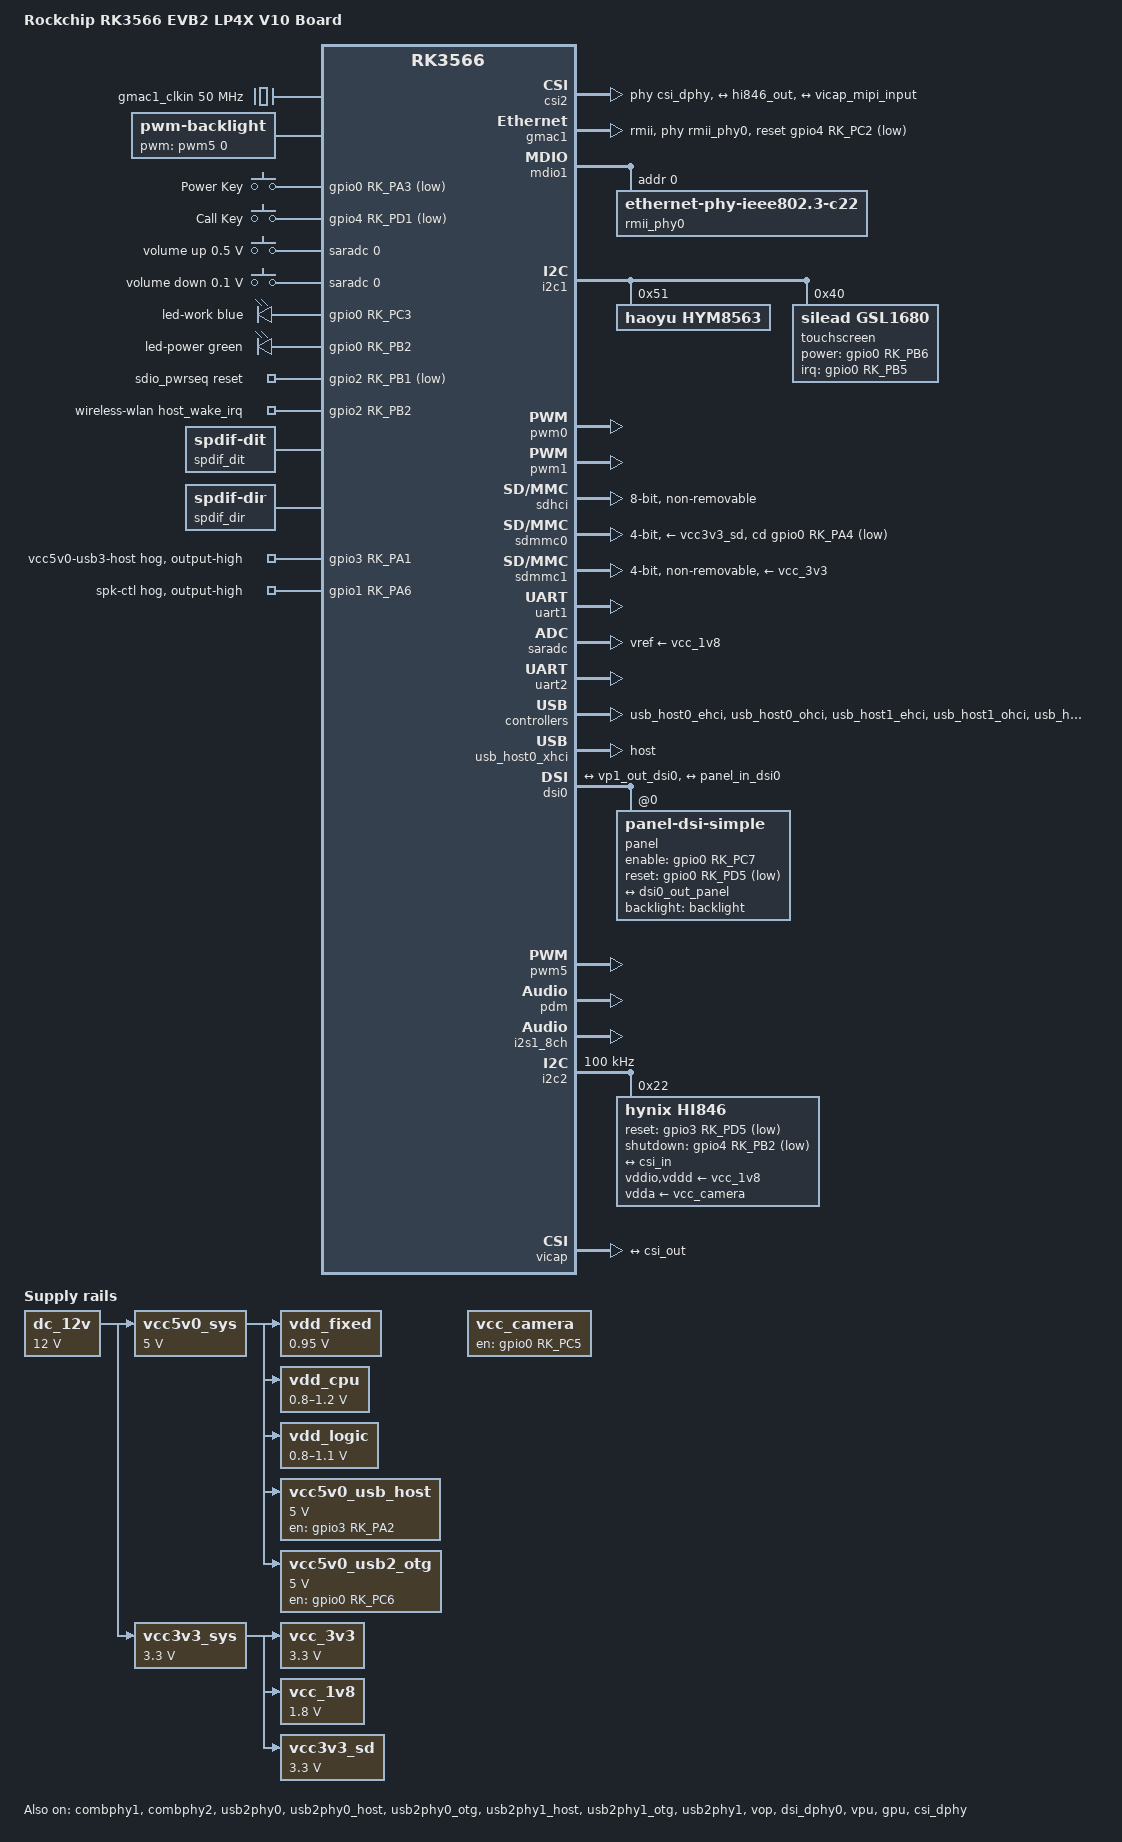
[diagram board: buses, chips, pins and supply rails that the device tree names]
// SPDX-License-Identifier: (GPL-2.0+ OR MIT)
/*
 * Rockchip RK3566 EVB2 LP4X V10 board (mainline port)
 *
 * 移植来源：厂商 Android 11 固件里的设备树
 *   model        : "Rockchip RK3566 EVB2 LP4X V10 Board"
 *   compatible   : "rockchip,rk3566-evb2-lp4x-v10", "rockchip,rk3566"
 *   提取方式     : 从 boot.img (header v2, dtb_size=0x1dc57) 中取出 board.dtb
 *
 * 说明：
 *   - 该板无 PMIC，CPU/LOGIC 由 PWM 稳压 (pwm-regulator)，与 rk3566-box-demo 参考设计一致
 *   - 以太网为 RMII 100M PHY（phy addr 0，reset = GPIO4_C2，25MHz clk 由 PHY 提供）
 *   - 显示为 MIPI-DSI 800x1280 + GSLX680 触摸，默认关闭（见文件末尾注释块）
 *   - WiFi/BT 模组为 RK960 (AIC8800)，SDIO 4bit，与 box-demo 的 SDIO/电源时序相同
 */

/dts-v1/;

#include <dt-bindings/gpio/gpio.h>
#include <dt-bindings/leds/common.h>
#include <dt-bindings/pinctrl/rockchip.h>
#include <dt-bindings/interrupt-controller/irq.h>
#include <dt-bindings/soc/rockchip,vop2.h>
#include <dt-bindings/power/rk3568-power.h>
#include <dt-bindings/media/video-interfaces.h>
#include "rk3566.dtsi"

/ {
	model = "Rockchip RK3566 EVB2 LP4X V10 Board";
	compatible = "rockchip,rk3566-evb2-lp4x-v10", "rockchip,rk3566";

	aliases {
		ethernet0 = &gmac1;
		mmc0 = &sdhci;
		mmc1 = &sdmmc0;
		mmc2 = &sdmmc1;
	};

	chosen: chosen {
		stdout-path = "serial2:1500000n8";
	};

	/* 50MHz 参考时钟，RMII 模式下由 PHY 侧提供（clock_in_out = "input"） */
	gmac1_clkin: external-gmac1-clock {
		compatible = "fixed-clock";
		clock-frequency = <50000000>;
		clock-output-names = "gmac1_clkin";
		#clock-cells = <0>;
	};

	/*
	 * 面板背光：厂商 backlight1，PWM5 @ 25kHz (GPIO0_B4, pwm5m0)
	 * 亮度 0-255 线性表，默认 200（与厂商 default-brightness-level 0xc8 一致）
	 */
	backlight: backlight {
		compatible = "pwm-backlight";
		pwms = <&pwm5 0 25000 0>;
		brightness-levels = <0  1  2  3  4  5  6  7  8  9
				     10 11 12 13 14 15 16 17 18 19
				     20 21 22 23 24 25 26 27 28 29
				     30 31 32 33 34 35 36 37 38 39
				     40 41 42 43 44 45 46 47 48 49
				     50 51 52 53 54 55 56 57 58 59
				     60 61 62 63 64 65 66 67 68 69
				     70 71 72 73 74 75 76 77 78 79
				     80 81 82 83 84 85 86 87 88 89
				     90 91 92 93 94 95 96 97 98 99
				     100 101 102 103 104 105 106 107 108 109
				     110 111 112 113 114 115 116 117 118 119
				     120 121 122 123 124 125 126 127 128 129
				     130 131 132 133 134 135 136 137 138 139
				     140 141 142 143 144 145 146 147 148 149
				     150 151 152 153 154 155 156 157 158 159
				     160 161 162 163 164 165 166 167 168 169
				     170 171 172 173 174 175 176 177 178 179
				     180 181 182 183 184 185 186 187 188 189
				     190 191 192 193 194 195 196 197 198 199
				     200 201 202 203 204 205 206 207 208 209
				     210 211 212 213 214 215 216 217 218 219
				     220 221 222 223 224 225 226 227 228 229
				     230 231 232 233 234 235 236 237 238 239
				     240 241 242 243 244 245 246 247 248 249
				     250 251 252 253 254 255>;
		default-brightness-level = <200>;
	};

	gpio-keys {
		compatible = "gpio-keys";
		pinctrl-names = "default";
		pinctrl-0 = <&power_key_pin>;

		key-power {
			label = "Power Key";
			linux,code = <116>;		/* KEY_POWER */
			gpios = <&gpio0 RK_PA3 GPIO_ACTIVE_LOW>;
			debounce-interval = <2>;
			wakeup-source;
		};

		key-call {
			label = "Call Key";
			linux,code = <87>;		/* KEY_SEND，与厂商 dtb (0x57) 一致 */
			gpios = <&gpio4 RK_PD1 GPIO_ACTIVE_LOW>;
			debounce-interval = <2>;
			wakeup-source;
		};
	};

	/*
	 * 音量键：外接按键板上的 vol+/vol- 不是 GPIO，而是 SARADC 通道 0 上的
	 * 电阻梯（厂商 dtb adc-keys，但本批按键板分压电阻与厂商 dts 不同）：
	 *   实测（2026-11-04，vref=vcc_1v8，10bit）：
	 *     vol-up   raw≈251（≈441mV）  厂商阈值 298268µV 偏低不匹配
	 *     vol-down raw≈21（≈37mV）    厂商阈值 1750µV 偏低
	 *     松开     raw=1023（≈1.8V 满量程）
	 * 按实测取阈值（ adc-keys 按「低于本键阈值且高于更低阈值键」判定区间）：
	 *   vol-down 区间 (0, 300mV]；vol-up 区间 (300mV, 1000mV]；松开 >1mV 无键
	 * 电源键/呼叫键见上方 gpio-keys（GPIO0_A3 / GPIO4_D1，低有效）。
	 */
	adc-keys {
		compatible = "adc-keys";
		io-channels = <&saradc 0>;
		io-channel-names = "buttons";
		keyup-threshold-microvolt = <1800000>;
		poll-interval = <100>;

		vol-up-key {
			label = "volume up";
			linux,code = <115>;		/* KEY_VOLUMEUP */
			/* adc-keys picks the smallest threshold above the measured
			 * value: vol+ measured at 441mV, vol- at 37mV, released
			 * at 1.8V. Thresholds must bracket those, in order. */
			press-threshold-microvolt = <500000>;
		};

		vol-down-key {
			label = "volume down";
			linux,code = <114>;		/* KEY_VOLUMEDOWN */
			press-threshold-microvolt = <100000>;
		};
	};

	leds {
		compatible = "gpio-leds";
		pinctrl-names = "default";
		pinctrl-0 = <&led_work_en>;

		led-work {
			gpios = <&gpio0 RK_PC3 GPIO_ACTIVE_HIGH>;
			function = LED_FUNCTION_HEARTBEAT;
			color = <LED_COLOR_ID_BLUE>;
			linux,default-trigger = "heartbeat";
		};

		led-power {
			gpios = <&gpio0 RK_PB2 GPIO_ACTIVE_HIGH>;
			function = LED_FUNCTION_POWER;
			color = <LED_COLOR_ID_GREEN>;
			default-state = "on";
		};
	};

	sdio_pwrseq: sdio-pwrseq {
		compatible = "mmc-pwrseq-simple";
		clocks = <&pmucru CLK_RTC_32K>;
		clock-names = "ext_clock";
		pinctrl-names = "default";
		pinctrl-0 = <&wifi_enable_h &wifi_32k>;
		reset-gpios = <&gpio2 RK_PB1 GPIO_ACTIVE_LOW>;
		post-power-on-delay-ms = <200>;
	};

	/*
	 * OOB host-wake line of the RK960 WiFi combo (same as vendor dts:
	 * WIFI,host_wake_irq = GPIO2_B2).  The rk960 firmware never asserts
	 * in-band SDIO interrupts; without this node the driver times out in
	 * the startup handshake ("Timeout waiting on device startup") while
	 * GPIO2_B2 sits high.
	 */
	wireless-wlan {
		compatible = "wlan-platdata";
		rockchip,grf = <&grf>;
		wifi_chip_type = "rk960";
		pinctrl-names = "default";
		pinctrl-0 = <&wifi_host_wake_h>;
		WIFI,host_wake_irq = <&gpio2 RK_PB2 GPIO_ACTIVE_HIGH>;
		status = "okay";
	};

	dc_12v: dc-12v {
		compatible = "regulator-fixed";
		regulator-name = "dc_12v";
		regulator-always-on;
		regulator-boot-on;
		regulator-min-microvolt = <12000000>;
		regulator-max-microvolt = <12000000>;
	};

	vcc5v0_sys: vcc5v0-sys {
		compatible = "regulator-fixed";
		regulator-name = "vcc5v0_sys";
		regulator-always-on;
		regulator-boot-on;
		regulator-min-microvolt = <5000000>;
		regulator-max-microvolt = <5000000>;
		vin-supply = <&dc_12v>;
	};

	vcc3v3_sys: vcc3v3-sys {
		compatible = "regulator-fixed";
		regulator-name = "vcc3v3_sys";
		regulator-always-on;
		regulator-boot-on;
		regulator-min-microvolt = <3300000>;
		regulator-max-microvolt = <3300000>;
		vin-supply = <&dc_12v>;
	};

	vcc_3v3: vcc-3v3 {
		compatible = "regulator-fixed";
		regulator-name = "vcc_3v3";
		regulator-always-on;
		regulator-boot-on;
		regulator-min-microvolt = <3300000>;
		regulator-max-microvolt = <3300000>;
		vin-supply = <&vcc3v3_sys>;
	};

	vcc_1v8: vcc-1v8 {
		compatible = "regulator-fixed";
		regulator-name = "vcc_1v8";
		regulator-always-on;
		regulator-boot-on;
		regulator-min-microvolt = <1800000>;
		regulator-max-microvolt = <1800000>;
		vin-supply = <&vcc3v3_sys>;
	};

	vdd_fixed: vdd-fixed {
		compatible = "regulator-fixed";
		regulator-name = "vdd_fixed";
		regulator-always-on;
		regulator-boot-on;
		regulator-min-microvolt = <950000>;
		regulator-max-microvolt = <950000>;
		vin-supply = <&vcc5v0_sys>;
	};

	vdd_cpu: vdd-cpu {
		compatible = "pwm-regulator";
		pwms = <&pwm0 0 5000 1>;
		regulator-name = "vdd_cpu";
		regulator-min-microvolt = <800000>;
		regulator-max-microvolt = <1200000>;
		regulator-init-microvolt = <950000>;
		regulator-always-on;
		regulator-boot-on;
		regulator-settling-time-up-us = <250>;
		pwm-supply = <&vcc5v0_sys>;
	};

	vdd_logic: vdd-logic {
		compatible = "pwm-regulator";
		pwms = <&pwm1 0 5000 1>;
		regulator-name = "vdd_logic";
		regulator-min-microvolt = <800000>;
		regulator-max-microvolt = <1100000>;
		regulator-init-microvolt = <950000>;
		regulator-always-on;
		regulator-boot-on;
		regulator-settling-time-up-us = <250>;
		pwm-supply = <&vcc5v0_sys>;
	};

	vcc3v3_sd: vcc3v3-sd {
		compatible = "regulator-gpio";
		regulator-name = "vcc3v3_sd";
		regulator-min-microvolt = <3300000>;
		regulator-max-microvolt = <3300000>;
		gpios = <&gpio0 RK_PA5 GPIO_ACTIVE_HIGH>;
		gpios-states = <1>;
		states = <3300000 1>;
		vin-supply = <&vcc3v3_sys>;
	};

	vcc5v0_usb_host: vcc5v0-usb-host {
		compatible = "regulator-fixed";
		enable-active-high;
		/*
		 * OEM 改版把 USB HOST 5V 主开关的使能脚从 EVB 默认的 GPIO0_A6
		 * 换到了 GPIO3_A2（实测定位）。A2 是上游主开关：
		 *   - 直接给 HOST2/HOST3 供电
		 *   - 给 USB3.0 口自己的负载开关(GPIO3_A1)提供输入
		 * 所以 USB3.0 口出 5V 需要 A1+A2 同时高（A1 见 &gpio3 的 usb3-vbus-hog）。
		 * 厂商 Android dtb 写的 GPIO0_A6 在本板上悬空，是错的。
		 */
		gpio = <&gpio3 RK_PA2 GPIO_ACTIVE_HIGH>;
		pinctrl-names = "default";
		pinctrl-0 = <&vcc5v0_usb_host_en>;
		regulator-name = "vcc5v0_usb_host";
		regulator-min-microvolt = <5000000>;
		regulator-max-microvolt = <5000000>;
		regulator-always-on;
		vin-supply = <&vcc5v0_sys>;
	};

	vcc5v0_usb2_otg: vcc5v0-usb2-otg {
		compatible = "regulator-fixed";
		enable-active-high;
		gpio = <&gpio0 RK_PC6 GPIO_ACTIVE_HIGH>;
		pinctrl-names = "default";
		pinctrl-0 = <&vcc5v0_usb2_otg_en>;
		regulator-name = "vcc5v0_usb_otg";
		regulator-min-microvolt = <5000000>;
		regulator-max-microvolt = <5000000>;
		vin-supply = <&vcc5v0_sys>;
	};
};

&cpu0 {
	cpu-supply = <&vdd_cpu>;
};

&cpu1 {
	cpu-supply = <&vdd_cpu>;
};

&cpu2 {
	cpu-supply = <&vdd_cpu>;
};

&cpu3 {
	cpu-supply = <&vdd_cpu>;
};

/* USB3/SATA/QSGMII combo PHY，两路都打开（USB3 主机 + OTG 复用） */
&combphy1 {
	status = "okay";
};

&combphy2 {
	status = "okay";
};

/*
 * 以太网：RMII，100M PHY（addr 0）
 * 引脚组来自厂商 DTB: gmac1m0-miim / clkinout / tx-bus2 / rx-bus2 / rx-er
 *                      + eth1m0-pins（GPIO3_B0 = CLK_MAC1_OUT，25MHz 给 PHY）
 * 板上 PHY 无独立晶振，参考时钟由 SoC CLK_MAC1_OUT 输出 25MHz 提供；
 * 主线 dwmac-rk 驱动在 RMII 模式下会取用名为 "clk_mac_ref" 的可选时钟，
 * 因此把 CLK_MAC1_OUT 以该名字挂进 gmac1 的 clocks 列表来启用它。
 */
&gmac1 {
	assigned-clocks = <&cru SCLK_GMAC1_RX_TX>, <&cru SCLK_GMAC1>,
			  <&cru CLK_MAC1_OUT>;
	assigned-clock-parents = <&cru SCLK_GMAC1_RMII_SPEED>, <&gmac1_clkin>;
	assigned-clock-rates = <0>, <0>, <25000000>;
	phy-mode = "rmii";
	clock_in_out = "input";
	clocks = <&cru SCLK_GMAC1>, <&cru SCLK_GMAC1_RX_TX>,
		 <&cru SCLK_GMAC1_RX_TX>, <&cru CLK_MAC1_REFOUT>,
		 <&cru ACLK_GMAC1>, <&cru PCLK_GMAC1>,
		 <&cru SCLK_GMAC1_RX_TX>, <&cru CLK_GMAC1_PTP_REF>,
		 <&cru CLK_MAC1_OUT>;
	clock-names = "stmmaceth", "mac_clk_rx",
		      "mac_clk_tx", "clk_mac_refout",
		      "aclk_mac", "pclk_mac",
		      "clk_mac_speed", "ptp_ref",
		      "clk_mac_ref";
	pinctrl-names = "default";
	pinctrl-0 = <&gmac1m0_miim
		     &gmac1m0_clkinout
		     &gmac1m0_tx_bus2
		     &gmac1m0_rx_bus2
		     &gmac1m0_rx_er
		     &eth1m0_pins>;
	snps,reset-gpio = <&gpio4 RK_PC2 GPIO_ACTIVE_LOW>;
	snps,reset-active-low;
	snps,reset-delays-us = <0 20000 100000>;
	phy-handle = <&rmii_phy0>;
	status = "okay";
};

&mdio1 {
	rmii_phy0: ethernet-phy@0 {
		compatible = "ethernet-phy-ieee802.3-c22";
		reg = <0x0>;
	};
};

/* I2C1: HYM8563 RTC + Silead GSLX680 触摸（厂商固件驱动，主线用 silead.c + 固件文件） */
&i2c1 {
	status = "okay";

	hym8563: rtc@51 {
		compatible = "haoyu,hym8563";
		reg = <0x51>;
		#clock-cells = <0>;
		clock-output-names = "rtcic_32kout";
	};

	/*
	 * 触摸：Silead GSLX680（"gslX6801" 实例），I2C 地址 0x40
	 *   - 中断 GPIO0_B5，低电平触发（厂商 touch-gpio flags 0x8）
	 *   - 复位 GPIO0_B6，高有效（厂商 reset-gpio）
	 *   - 触摸坐标范围 1280x800（横屏）
	 *
	 * 固件必须是 gslx680_fw.fw（5247 条），对应厂商内核里 compatible
	 * "gslX6801" 那个实例的 GSLX680_FW 数组（已逐字节比对一致）。
	 * 曾误用 gsl3673_fw_2.fw（4818 条）——那是 gsl3673_800x1280 另一个
	 * 实例的固件，下载后 status 永远不是 0x5a5a5a5a，触摸完全无响应。
	 *
	 * 内核侧还要配套补丁 1000-input-silead-support-gslx680-download-protocol.patch：
	 *   [F0]=0x12 进下载模式、[80]=0x03、批量 32 条 129 字节下发、
	 *   下载后再 reset+startup 一次 —— 缺任何一项芯片都停在 ROM bootloader。
	 */
	touchscreen@40 {
		compatible = "silead,gsl1680";
		reg = <0x40>;
		interrupt-parent = <&gpio0>;
		interrupts = <RK_PB5 IRQ_TYPE_LEVEL_LOW>;
		/*
		 * GPIO0_B6 = 复位脚，低有效（板上实测）：
		 *   i2cdetect 手工扫电平的结果是
		 *     B6 = 物理低 → 0x40 无应答（芯片处于复位）
		 *     B6 = 物理高 → 0x40 应答（芯片正常工作）
		 * 即「低电平复位、高电平释放」，与厂商 reset-gpio 语义一致。
		 *
		 * 主线 silead.c 的 power-gpios 被当作使能脚用：
		 *   silead_ts_set_power(ON) → gpiod_set_value(1) → 物理高
		 * 所以必须声明 ACTIVE_HIGH，上电才等于「释放复位」。
		 * 若声明 ACTIVE_LOW，ON 会写物理低 = 一直按住复位，
		 * 芯片不应答 I2C，probe 报 "Chip ID read error -6"（-ENXIO）。
		 */
		power-gpios = <&gpio0 RK_PB6 GPIO_ACTIVE_HIGH>;
		touchscreen-size-x = <1280>;
		touchscreen-size-y = <800>;
		firmware-name = "gslx680_fw.fw";
	};
};

/* USB3.0 口有自己单独的 VBUS 负载开关，使能脚是 GPIO3_A1（实测定位）。
 * 它的输入来自 vcc5v0_usb_host(A2) 那条上游支路，所以 USB3.0 口要出 5V
 * 必须 A1+A2 同时高。HOST2/HOST3 只挂在 A2 上，不需要 A1。
 * 这里用 gpio-hog 把 A1 常拉高（host 口 VBUS 本就常供电）。 */
&gpio3 {
	usb3-vbus-hog {
		gpio-hog;
		gpios = <RK_PA1 GPIO_ACTIVE_HIGH>;
		output-high;
		line-name = "vcc5v0-usb3-host";
	};
};

&pinctrl {
	eth {
		power_key_pin: power-key-pin {
			rockchip,pins = <0 RK_PA3 RK_FUNC_GPIO &pcfg_pull_up>;
		};
	};

	bt {
		bt_enable_h: bt-enable-h {
			rockchip,pins = <2 RK_PB7 RK_FUNC_GPIO &pcfg_pull_none>;
		};

		bt_host_wake_l: bt-host-wake-l {
			rockchip,pins = <2 RK_PC0 RK_FUNC_GPIO &pcfg_pull_down>;
		};

		bt_wake_l: bt-wake-l {
			rockchip,pins = <2 RK_PC1 RK_FUNC_GPIO &pcfg_pull_none>;
		};
	};

	sdio-pwrseq {
		wifi_enable_h: wifi-enable-h {
			rockchip,pins = <2 RK_PB1 RK_FUNC_GPIO &pcfg_pull_none>,
					<0 RK_PB0 RK_FUNC_GPIO &pcfg_pull_none>;
		};

		wifi_host_wake_h: wifi-host-wake-l {
			rockchip,pins = <2 RK_PB2 RK_FUNC_GPIO &pcfg_pull_none>;
		};

		wifi_32k: wifi-32k {
			rockchip,pins = <2 RK_PC6 1 &pcfg_pull_none>;
		};
	};

	usb {
		vcc5v0_usb_host_en: vcc5v0-usb-host-en {
			rockchip,pins = <3 RK_PA2 RK_FUNC_GPIO &pcfg_pull_none>;
		};

		vcc5v0_usb2_otg_en: vcc5v0-usb2-otg-en {
			rockchip,pins = <0 RK_PC6 RK_FUNC_GPIO &pcfg_pull_none>;
		};
	};

	led {
		led_work_en: led-work-en {
			rockchip,pins = <0 RK_PC3 RK_FUNC_GPIO &pcfg_pull_none>;
		};
	};
};

&pmu_io_domains {
	pmuio2-supply = <&vcc_3v3>;
	vccio1-supply = <&vcc_3v3>;
	vccio3-supply = <&vcc_3v3>;
	vccio4-supply = <&vcc_1v8>;
	vccio5-supply = <&vcc_3v3>;
	vccio6-supply = <&vcc_1v8>;
	vccio7-supply = <&vcc_3v3>;
	status = "okay";
};

&pwm0 {
	status = "okay";
};

&pwm1 {
	status = "okay";
};

/*
 * eMMC：必须把 max-frequency 限制在 52MHz。
 *
 * 注意：仅仅不在 DT 里写 mmc-hs200-1_8v 是**没用**的。rk3568 走的是
 * sdhci_dwcmshc_rk35xx_ops，其 postinit(dwcmshc_rk35xx_postinit) 只在
 *   host->mmc->f_max <= 52000000
 * 时才清掉 MMC_CAP2_HS200/HS400 和 DDR；否则 HS200 默认生效。
 *
 * 本板无 PMIC，VCCQ 无法切到 1.8V，HS200@200MHz 会让大数据块写入 CRC 失败：
 *   mmc0: new HS200 MMC card
 *   I/O error, dev mmcblk0 ... op 0x1:(WRITE)
 *   Aborting journal on device mmcblk0p1-8
 *   EXT4-fs: Detected aborted journal -> Remounting filesystem read-only
 * 进而 Armbian 首启扩容被拒（online resizing is not allowed），系统恒为只读。
 *
 * 52MHz 即 8bit high-speed，DLL 不参与，txclk-tapnum 不再影响时序。
 */
&sdhci {
	bus-width = <8>;
	max-frequency = <52000000>;
	non-removable;
	rockchip,txclk-tapnum = <0x8>;
	status = "okay";
};

/* TF 卡槽：厂商固件里被关闭，这里默认打开（若板上无卡槽不影响启动） */
&sdmmc0 {
	bus-width = <4>;
	cap-sd-highspeed;
	sd-uhs-sdr50;
	cd-gpios = <&gpio0 RK_PA4 GPIO_ACTIVE_LOW>;
	disable-wp;
	pinctrl-names = "default";
	pinctrl-0 = <&sdmmc0_bus4 &sdmmc0_clk &sdmmc0_cmd &sdmmc0_det>;
	vmmc-supply = <&vcc3v3_sd>;
	vqmmc-supply = <&vcc3v3_sd>;
	status = "okay";
};

/* SDIO WiFi (RK960 / AIC8800, 4bit) */
&sdmmc1 {
	#address-cells = <1>;
	#size-cells = <0>;
	bus-width = <4>;
	clock-frequency = <150000000>;
	cap-sdio-irq;
	cap-sd-highspeed;
	sd-uhs-sdr104;
	keep-power-in-suspend;
	mmc-pwrseq = <&sdio_pwrseq>;
	non-removable;
	pinctrl-names = "default";
	pinctrl-0 = <&sdmmc1_bus4 &sdmmc1_cmd &sdmmc1_clk>;
	vmmc-supply = <&vcc_3v3>;
	vqmmc-supply = <&vcc_1v8>;
	status = "okay";
};

/* 蓝牙串口（RK960 BT 走 UART1 = /dev/ttyS1，硬件流控；
 * 用户态 rk_hciattach -n -s 115200 /dev/ttyS1 rockchip 3000000 flow nosleep 加载固件，
 * 由 CI 注入镜像的 rk960-bt.service 拉起） */
&uart1 {
	pinctrl-names = "default";
	pinctrl-0 = <&uart1m0_xfer &uart1m0_ctsn &uart1m0_rtsn>;
	status = "okay";
};

/* SARADC：外接按键板的音量+/-走 ADC 电阻梯（厂商方案）
 * 必须给 vref-supply：主线驱动 probe 里 regulator_get_voltage() 对哑
 * regulator 返回 -EINVAL（板上实测 error -22），厂商接的正是 vcc_1v8 */
&saradc {
	status = "okay";
	vref-supply = <&vcc_1v8>;
};

&uart2 {
	status = "okay";
};

/*
 * usb2phy0 必须显式使能：rk3566.dtsi 里它默认 status = "disabled"，
 * 而 usb@fcc00000 (usbdrd30/OTG) 与 usb@fd000000 (usbhost30) 都从它取
 * USB2 PHY / extcon。漏了这条的实测现象：
 *   platform fcc00000.usb: deferred probe pending: dwc3: failed to get extcon
 *   platform fd000000.usb: deferred probe pending: dwc3: failed to initialize core
 * 结果 USB3.0 两个控制器全部不注册（lsusb 只剩 2×EHCI + 2×OHCI）。
 */
&usb2phy0 {
	status = "okay";
};

&usb2phy0_host {
	phy-supply = <&vcc5v0_usb_host>;
	status = "okay";
};

&usb2phy0_otg {
	phy-supply = <&vcc5v0_usb2_otg>;
	status = "okay";
};

&usb2phy1_host {
	phy-supply = <&vcc5v0_usb_host>;
	status = "okay";
};

&usb2phy1_otg {
	phy-supply = <&vcc5v0_usb_host>;
	status = "okay";
};

&usb2phy1 {
	status = "okay";
};

&usb_host0_ehci {
	status = "okay";
};

&usb_host0_ohci {
	status = "okay";
};

&usb_host1_ehci {
	status = "okay";
};

&usb_host1_ohci {
	status = "okay";
};

/*
 * usb_host0_xhci = usb@fcc00000 = 板上丝印「USB2.0」那个口。
 *
 * 该口硬件是 OTG/device 双角色口（厂商 Android 下两种都支持），主线
 * rk3566-base.dtsi 给它 phys=<&usb2phy0_otg> extcon=<&usb2phy0>，
 * 于是 dwc3 走 otg 模式并依赖 extcon 的 ID 状态。本机 extcon 实测
 * USB-HOST=0（ID 悬空）→ dwc3 一直停在 peripheral：
 *     /sys/class/udc/fcc00000.usb → state "not attached"
 * 插鼠标接收器（本身也是 device）永远枚举不了，表现为「USB 口插什么都没反应」。
 *
 * 该口 VBUS 由 vcc5v0_usb2_otg(GPIO0_C6) 供电，实测有 5V，所以直接切成
 * host 即可当普通 USB-A 主机口用。实测：Logitech 无线接收器
 * (046d:c53f) 正常枚举，hid-generic 注册 Keyboard/Mouse/Consumer Control，
 * /dev/input/event1..4 有真实按键事件。
 *
 * 若将来要恢复 device/OTG 模式：把 dr_mode 改回 "otg"（或删掉本行），
 * 并保证 extcon 能读到正确的 ID 电平。
 */
&usb_host0_xhci {
	status = "okay";
	dr_mode = "host";
};

&usb_host1_xhci {
	status = "okay";
};

&vop {
	status = "okay";
	/*
	 * dclk_vp1 必须挂在可编程的 PLL_VPLL（rk3568-cru.h: PLL_VPLL = 5，属 cru）。
	 *
	 * 之前这里是"学 rock-3a"抄来的 <&pmucru PLL_HPLL>：
	 * PLL_HPLL = 2，mainline 里没有人给它倍频，实测就是 xin24m 直通 24MHz；
	 * 而 dclk 分频器只能降频不能升频，于是 vop2_crtc_atomic_enable() 里的
	 * clk_set_rate(dclk, 70MHz) 静默失败，dclk_vp1 永远停在 24MHz，
	 * DSI 像素时钟远低于面板需要的 ~63MHz，屏无法同步 →
	 * 背光亮、液晶不出图，即"全程纯灰白、从未出现过文字"。
	 *
	 * v10 实测：只把父时钟换成 PLL_VPLL 还不够，clk_summary 里 dclk_vop1
	 * 依旧是 24000000。原因在时钟树本身（drivers/clk/rockchip/clk-rk3568.c）：
	 *
	 *   COMPOSITE(DCLK_VOP1, "dclk_vop1", hpll_vpll_gpll_cpll_p,
	 *             CLK_SET_RATE_NO_REPARENT, ... 0, 8, DFLAGS ...)
	 *
	 *  1) CLK_SET_RATE_NO_REPARENT —— clk_set_rate() 不会去换父时钟；
	 *  2) 没有 CLK_SET_RATE_PARENT —— 频率需求不向父 PLL 传播，只会在
	 *     「当前父时钟频率」下挑分频比；父 PLL 只有 24MHz 时分频器只能降频，
	 *     拿不到 70MHz，clk_set_rate() 静默失败
	 *     （vop2.c 里 `clk_set_rate(vp->dclk, clock);` 返回值被丢弃，
	 *       所以 dmesg 一条报错都没有，dclk 永远 24MHz）。
	 *
	 * 因此必须两步都做：
	 *  a) 这里把 dclk_vop1 的父时钟指定为 PLL_VPLL；
	 *  b) 再把 PLL_VPLL 本身预置为 700MHz（放在 &dsi0 节点里，见下）——
	 *     rk3568_pll_rates 表内有 RK3036_PLL_RATE(700000000, 3, 350, 4, 1)
	 *     = 24MHz*350/3/4，可精确成立；700MHz / 10 = 70.0MHz 整，
	 *     dclk 的 8bit 整数分频器正好整除。
	 */
	assigned-clocks = <&cru DCLK_VOP1>;
	assigned-clock-parents = <&cru PLL_VPLL>;
	assigned-clock-rates = <70000000>;
};

&vop_mmu {
	status = "okay";
};

/*
 * 显示链路：VOP vp1 -> DSI0 -> 面板（MIPI-DSI 800x1280, 4 lane, 70MHz）
 *
 * 关键：厂商 DTB 里 DSI0 接的是 vp1（dsi0_in_vp1 为 okay，vp0 那路是
 * disabled），这里必须一致，否则视频流不出屏（灰屏）。
 * 面板由 Armbian 内置通用驱动 panel-dsi-simple 驱动，参数全从 DT 读。
 */
&dsi_dphy0 {
	status = "okay";
};

&dsi0 {
	status = "okay";
	#address-cells = <1>;
	#size-cells = <0>;

	/*
	 * 视频 PLL 预置 700MHz：配合 &vop 里 dclk_vop1 的 /10 分频得到精确
	 * 70MHz 像素时钟（与 display-timings 的 clock-frequency 一致）。
	 *
	 * assigned-clocks 可以指向任意 clock provider，不必是本节点的时钟；
	 * 只写 assigned-clock-rates 是合法的——clk-conf.c 的 __set_clk_parents()
	 * 在节点没有 assigned-clock-parents 属性时循环 0 次直接返回 0，
	 * 不会阻止后面的 rate 设置。
	 *
	 * dsi0 一定在 DRM modeset 之前 probe，所以 vop2_crtc_atomic_enable() 里
	 * 那次 clk_set_rate(dclk, 70MHz) 执行时，父 PLL 已经是 700MHz，分频比
	 * 会算成 10，dclk 真正落到 70MHz。
	 */
	assigned-clocks = <&cru PLL_VPLL>, <&cru DCLK_VOP1>;
	assigned-clock-rates = <700000000>, <70000000>;

	panel@0 {
		compatible = "panel-dsi-simple";
		reg = <0>;
		backlight = <&backlight>;
		enable-gpios = <&gpio0 RK_PC7 GPIO_ACTIVE_HIGH>;
		reset-gpios = <&gpio0 RK_PD5 GPIO_ACTIVE_LOW>;
		pinctrl-names = "default";
		pinctrl-0 = <&lcd_rst_gpio &lcd_en_gpio>;

		/* DSI 视频模式位（drm_mipi_dsi.h）：
		 *   0x001 MIPI_DSI_MODE_VIDEO             —— video mode
		 *   0x002 MIPI_DSI_MODE_VIDEO_BURST       —— burst：控制器自行打包每行
		 *   0x200 MIPI_DSI_CLOCK_NON_CONTINUOUS   —— 空闲关 HS 时钟，lane 回 LP-11
		 *   0x400 MIPI_DSI_MODE_LPM               —— DCS 命令走 LP 模式
		 *
		 * 板上实测结论（v13 逐值 fdtput + reboot 验证）：
		 *   0x405 / 0x403 / 0x603 / 0x605 都能点亮并正常显示文字，
		 *   0x205（无 LPM）与 0x01 / 0x0b 全部灰白。
		 *
		 * 两个必要条件，缺一不可：
		 * 1) LPM(0x400)：drm_mipi_dsi.c:456 只在 mode_flags 含
		 *    MIPI_DSI_MODE_LPM 时给 msg 打 USE_LPM；dw-mipi-dsi.c:380
		 *    据此置 CMD_MODE_ALL_LP / ENABLE_LOW_POWER_CMD。缺此位则
		 *    0x11/0x29 以 HS 模式发出，面板尚在 sleep、未进 HS 能力态，
		 *    命令被静默丢弃（FIFO 写成功、dmesg 无报错）→ 纯灰白。
		 * 2) BURST(0x002)：非 burst 模式下 DSI 行时序必须与 VOP 的 DPI
		 *    逐拍对齐，实测结构（四象限方位/颜色）全对但每行乱码；
		 *    burst 由控制器自行打包，对交接误差不敏感 → 画面清晰。
		 *    这也与厂商 BSP 的 0xa03（VIDEO|BURST|NON_CONT）一致。
		 *
		 * 最终取 0x603 = VIDEO|BURST|NON_CONTINUOUS|LPM，与厂商语义等价
		 * （0xa03 的 bit11 是 BSP 私有位，mainline 无对应）。
		 * 若日后出现偶发闪烁，可降级为 0x403（BURST+LPM，连续时钟）。 */
		dsi,flags = <0x603>;
		dsi,format = <0>;
		dsi,lanes = <4>;

		/* 上电时序（ms）——取自厂商 DTB：prepare 60 / reset 60 /
		 * init 60 / enable 120 / disable 60 / unprepare 60 */
		prepare-delay-ms = <60>;
		reset-delay-ms = <60>;
		init-delay-ms = <60>;
		enable-delay-ms = <120>;
		disable-delay-ms = <60>;
		unprepare-delay-ms = <60>;

		/* 命令字节流，每条 {dtype, wait_ms, len, payload...}：
		 * 上电 0x11 sleep-out(等120ms) → 0x29 display-on(等20ms)
		 * 掉电 0x28 display-off → 0x10 sleep-in */
		panel-init-sequence = [
			05 78 01 11
			05 14 01 29
		];
		panel-exit-sequence = [
			05 00 01 28
			05 00 01 10
		];

		width-mm = <108>;
		height-mm = <172>;

		display-timings {
			native-mode = <&evb2_panel_timing>;

			evb2_panel_timing: timing0 {
				clock-frequency = <70000000>;
				hactive = <800>;
				vactive = <1280>;
				hfront-porch = <52>;
				hback-porch = <48>;
				hsync-len = <8>;
				vfront-porch = <16>;
				vback-porch = <15>;
				vsync-len = <6>;
				/* 与厂商 DTB 完全一致：四路极性均为 active low */
				hsync-active = <0>;
				vsync-active = <0>;
				de-active = <0>;
				pixelclk-active = <0>;
			};
		};

		port {
			panel_in_dsi0: endpoint {
				remote-endpoint = <&dsi0_out_panel>;
			};
		};
	};

	ports {
		port@0 {
			dsi0_in_vp1: endpoint {
				remote-endpoint = <&vp1_out_dsi0>;
			};
		};

		port@1 {
			dsi0_out_panel: endpoint {
				remote-endpoint = <&panel_in_dsi0>;
			};
		};
	};
};

/*
 * VOP vp1 的 DSI0 输出端点。
 *
 * 这里的 reg 不是随便填的端口号，而是「输出接口类型」编码，值必须等于
 * dt-bindings/soc/rockchip,vop2.h 里的 ROCKCHIP_VOP2_EP_MIPI0(=4)。
 * 内核 rk3568_set_intf_mux() 用 of_graph 拿到本端点的 reg 当作接口 ID，
 * 再 switch 到对应 case 去写 GRF 的 port mux；如果 reg 缺失(默认 0)，
 * 会直接打 "Invalid interface id 0 on vpN" 并 return，port mux 永远不生效，
 * 表现为：绑定全部成功、fb0 也建出来了，但屏幕上只有背光(灰屏)，
 * 且 dmesg 里刷 "wait port_mux done timeout" + "flip_done timed out"。
 */
&vp1 {
	#address-cells = <1>;
	#size-cells = <0>;

	vp1_out_dsi0: endpoint@ROCKCHIP_VOP2_EP_MIPI0 {
		reg = <ROCKCHIP_VOP2_EP_MIPI0>;
		remote-endpoint = <&dsi0_in_vp1>;
	};
};

/* 面板控制脚：GPIO0_D5(复位) / GPIO0_C7(使能)，均为 GPIO 功能无上下拉 */
&pinctrl {
	lcd {
		lcd_rst_gpio: lcd-rst-gpio {
			rockchip,pins = <0 RK_PD5 RK_FUNC_GPIO &pcfg_pull_none>;
		};

		lcd_en_gpio: lcd-enable-gpio {
			rockchip,pins = <0 RK_PC7 RK_FUNC_GPIO &pcfg_pull_none>;
		};
	};
};

/* 面板背光 PWM5（GPIO0_B4），pinctrl 由 dtsi 默认提供 */
&pwm5 {
	status = "okay";
};

&vpu {
	status = "okay";
};

&gpu {
	status = "okay";
};

/*
 * ===========================================================================
 * 音频：板载 PDM 麦克风阵列（录音）+ I2S1 -> CS4333 DAC -> 功放（放音）
 *
 * 厂商 Android dtb 的原始拓扑用的是 Rockchip BSP 专属的
 * "rockchip,multi-dais" + "rockchip,dummy-codec"，这两个驱动**不在主线内核**
 * （CONFIG_SND_SOC_ROCKCHIP_MULTI_DAIS / CONFIG_SND_SOC_DUMMY_CODEC 主线不存在）。
 * 这里改用主线等价方案：两个独立的 simple-audio-card，codec 侧用上游
 * linux,spdif-dit / spdif-dir 当虚拟 codec。
 *
 * 为什么 spdif 能顶替：
 *   - CS4333 是无寄存器接口的纯 I2S DAC，只需要 BCLK/LRCK/MCLK + SDATA，
 *     有没有寄存器控制无关紧要；
 *   - PDM 麦克风阵列同理，只要 CPU 侧提供时钟并收 SDI 数据；
 *   - 两者都不需要 codec 侧做事，虚拟 codec 即可满足 simple-audio-card。
 * 依赖：CONFIG_SND_SOC_SPDIF（板上已有 snd-soc-spdif-tx/rx.ko），
 *       CONFIG_SND_SOC_ROCKCHIP_I2S_TDM / _PDM / CONFIG_SND_SIMPLE_CARD 均已在镜像内，
 *       所以本改动**只需替换 dtb，不必重编内核、不必重刷镜像**。
 *
 * 引脚（取自厂商 dtb）：
 *   PDM  : clk1=GPIO1_A4, sdi1=GPIO1_B2, sdi2=GPIO1_B1, sdi3=GPIO1_B0 (func 3)
 *          rockchip,path-map = <1 2 3 0> —— 3 麦阵列，物理走 sdi1/2/3
 *   I2S1 : mclk=GPIO1_A2, sclktx=GPIO1_A3, lrcktx=GPIO1_A4? (见 pinctrl) , sdo0
 *   功放使能 spk-ctl = GPIO1_A6（高有效，常开）
 *
 * 注意采样率：spdif 虚拟 codec 只接受 32k/44.1k/48k，测试请用 48000。
 * ===========================================================================
 */
&pdm {
	status = "okay";
	pinctrl-names = "default";
	pinctrl-0 = <&pdmm0_clk1 &pdmm0_sdi1 &pdmm0_sdi2 &pdmm0_sdi3>;
	rockchip,path-map = <1 2 3 0>;
};

&i2s1_8ch {
	status = "okay";
	/*
	 * 关键 1：把 I2S1 TX/RX 主时钟钉在 12.288 MHz（48k × 256）。
	 *
	 * 主线 rk356x-base.dtsi 只给 CLK_I2S1_8CH_TX_SRC 设了 1.188 GHz，
	 * 而设备树里 mclk_tx 引用的是 MCLK_I2S1_8CH_TX 这个"门控"，
	 * 该门控没有 CLK_SET_RATE_PARENT，所以 rockchip_i2s_tdm 在 hw_params
	 * 里调 clk_set_rate(mclk, 12288000) 会被静默忽略 —— 实测主时钟一直
	 * 停在 1 GHz，分频器按 12.288 MHz 算，实际 BCLK 快 80 多倍：
	 * 10 秒的音频 61 ms 就冲完了，喇叭一声没有（PCM 却显示正常）。
	 *
	 * 解法：显式把分频链路选到 frac 分频器，并直接给它 12.288 MHz。
	 */
	assigned-clocks = <&cru CLK_I2S1_8CH_TX>, <&cru CLK_I2S1_8CH_RX>,
			  <&cru I2S1_MCLKOUT_TX>;
	assigned-clock-parents = <&cru CLK_I2S1_8CH_TX_FRAC>,
				 <&cru CLK_I2S1_8CH_RX_FRAC>,
				 <&cru CLK_I2S1_8CH_TX>;
	assigned-clock-rates = <12288000>, <12288000>, <12288000>;
	/*
	 * 关键 2：TRCM 单向时钟模式会让 common_soc_init() 去写
	 * RK3568_I2S1_MCLK_TX_OE（MCLK 引脚输出使能）。厂商 dtb 的
	 * rockchip,clk-trcm = <1> 在主线对应 trcm-sync-tx-only。
	 */
	rockchip,trcm-sync-tx-only;
	pinctrl-names = "default";
	/* i2s1m0_mclk(PA2) 是送给 codec 的主时钟，厂商把它挂在 codec 节点上 */
	pinctrl-0 = <&i2s1m0_sclktx &i2s1m0_lrcktx &i2s1m0_mclk
		     &i2s1m0_sdi0 &i2s1m0_sdo0>;
};

/* 功放使能 GPIO1_A6，常开（否则 DAC 有输出但喇叭无声） */
&gpio1 {
	spk-ctl-hog {
		gpio-hog;
		gpios = <RK_PA6 GPIO_ACTIVE_HIGH>;
		output-high;
		line-name = "spk-ctl";
	};
};

/*
 * ============ 摄像头（Hynix HI-846，MIPI CSI2 4-lane）============
 *
 * 第 1 步：只打开 I2C 总线与摄像头供电，先确认传感器在总线上应答，
 * 拿到真实的 I2C 地址（厂商 dtb 写 0x22，模块文档常写 0x20）。
 *
 * 引脚依据厂商 dtb：
 *   i2c@fe5b0000 pinctrl-0 -> i2c2m1-xfer（GPIO4_B5=SCL / GPIO4_B4=SDA）
 *   vcc-camera-regulator   -> GPIO0_C5 高有效（摄像头供电开关）
 *   hi846 reset-gpios      -> GPIO3_D5(pin29)，pwdn-gpios -> GPIO4_B2(pin10)
 */
&i2c2 {
	status = "okay";
	pinctrl-names = "default";
	pinctrl-0 = <&i2c2m1_xfer>;
	clock-frequency = <100000>;

	/*
	 * HI-846 摄像头（单前置，MIPI CSI2 4-lane）
	 *
	 * 驱动 drivers/media/i2c/hi846.c 的要求：
	 *   clocks(xvclk) / reset-gpios / shutdown-gpios
	 *   vddio(1.8V) / vdda(2.8V) / vddd(1.2V) 三路 regulator
	 *   endpoint: data-lanes + link-frequencies（80M、200M 两种模式都要列）
	 *
	 * 引脚依据厂商 dtb：
	 *   reset   = GPIO3_D5 (pin29)
	 *   shutdown= GPIO4_B2 (pin10)   （厂商里叫 pwdn-gpios）
	 *   xvclk   = CLK_CIF_OUT，引脚 cif_clkout = GPIO4_C0 mux1
	 *   供电开关 = GPIO0_C5 -> vcc_camera
	 *
	 * 极性与厂商 dtb 完全一致（flags=0 高有效）+ 主线 hi846.c 的 gpiod 逻辑值：
	 *   - 主线驱动 power_on 写逻辑0（释放）、power_off 写逻辑1（断言）
	 *   - 厂商驱动运行态 RSTB=低、PWDN=低 → 逻辑0=物理低=运行态
	 *   - 所以 reset/shutdown 都必须 ACTIVE_HIGH：逻辑1 = 物理高 = 复位/断电
	 *   - 曾试过 reset=ACTIVE_LOW：驱动上电时把 RSTB 物理拉高=按复位，
	 *     I2C 全 NAK（2026-11-03 实测）
	 *
	 * ★★★ 关键修复 1（2026-11-03 实测）：power-domains = <&power RK3568_PD_VI>
	 *   cif_clkout(xvclk) 的输出级属于 VI 电源域（RK3568_PD_VI=8，厂商 dtb 的
	 *   sensor 节点同样挂了 power-domains=<0x21 0x8>）。VI 域断电时，即使 CRU
	 *   门控已开、IOMUX 已复用，MCLK 引脚实测恒 0（EXT 逐拍读 30 次全 0；
	 *   对照 GPIO3_B0 的 25MHz 以太网参考时钟同法读出 25 次跳变，证明 EXT 能
	 *   反映外设脚）。传感器没有 xvclk 就不应答 I2C——这正是"Android 能拍照、
	 *   Linux 全地址 NAK"的根本原因：Android 打开摄像头时 VI 域上电。
	 *
	 * ★★★ 关键修复 2（2026-11-03 实测）：两个 GPIO 都是 ACTIVE_LOW
	 *   手动拉起 VI 域 + 开 CLK_CIF_OUT 门控后，传感器只在 PWDN(4_B2)=高、
	 *   RSTB(3_D5)=高 时应答（PWDN=低反而消失）。即"运行态=两脚物理高"。
	 *   主线 hi846.c 语义：power_on 写逻辑0、power_off 写逻辑1，
	 *   所以 ACTIVE_LOW 正好把逻辑0 映射为物理高（运行态）。
	 *   厂商 dtb 里 pwdn/reset 的 flags=0 是 BSP 驱动自己的反相语义，别照抄。
	 *   读 ID 寄存器：0x0F16=0x46 / 0x0F17=0x08，与驱动期望一致（0x0846）。
	 *
	 * 说明：模块的 1.2V 内核电压由模组内部 LDO 产生，vddd 这里指向
	 * vcc_1v8 仅作 regulator 框架的占位，不改变实际供电。
	 */
	hi846: camera@22 {
		compatible = "hynix,hi846";
		reg = <0x22>;
		status = "okay";

		clocks = <&cru CLK_CIF_OUT>;
		clock-names = "xvclk";
		/*
		 * xvclk 显式钉在 24MHz（板卡设计值，厂商方案同为 24MHz）。
		 * 主线 hi846.c 的寄存器表按 25MHz 校准，会打一条
		 * "External clock freq should be 25000000" 的 warning——
		 * 只 warn 不失败。CLK_CIF_OUT 的父时钟是 gpll/usb480m/xin24m，
		 * 1.188GHz 无法整数分频出精确 25MHz（1188/47=25.28MHz），
		 * 所以按硬件设计用 24MHz：MIPI 实际链路速率比上报值低 4%，
		 * D-PHY settle 参数有 ±10% 以上的容差，实测出流为准。
		 */
		assigned-clocks = <&cru CLK_CIF_OUT>;
		assigned-clock-rates = <24000000>;

		power-domains = <&power RK3568_PD_VI>;

		pinctrl-names = "default";
		pinctrl-0 = <&cif_clk>;

		reset-gpios = <&gpio3 RK_PD5 GPIO_ACTIVE_LOW>;
		shutdown-gpios = <&gpio4 RK_PB2 GPIO_ACTIVE_LOW>;

		vddio-supply = <&vcc_1v8>;
		vdda-supply = <&vcc_camera>;
		vddd-supply = <&vcc_1v8>;

		port {
			hi846_out: endpoint {
				data-lanes = <1 2 3 4>;
				link-frequencies = /bits/ 64 <80000000 200000000>;
				remote-endpoint = <&csi_in>;
			};
		};
	};
};

/*
 * ============ MIPI CSI-2 采集链路（sensor -> DPHY -> CSI2 RX -> VICAP）============
 *
 * 硬件拓扑（rk3568/66 TRM + 厂商 dtb 交叉验证）：
 *   hi846 --MIPI CSI2 4-lane--> csi_dphy(fe870000, 模拟 D-PHY)
 *        -> rkcsi(fdfb0000, MIPI CSI-2 接收器/协议层)
 *        -> vicap(fdfe0000, 像素 DMA/ping-pong 写内存)
 *
 * 驱动状态（内核 6.18）：
 *   - csi_dphy: phy-rockchip-inno-csidphy.ko 已有（CONFIG_PHY_ROCKCHIP_INNO_CSIDPHY=m）
 *   - rkcsi / vicap: 上游 v6.19 才有，通过 userpatches 1001 回移补丁进入 6.18
 *     （CONFIG_VIDEO_ROCKCHIP_CSI=m / CONFIG_VIDEO_ROCKCHIP_CIF=m）
 *   - 全链路都在 VI 电源域（RK3568_PD_VI）内，各节点声明 power-domains 后
 *     probe 时 genpd 自动上电（音频/摄像头 VI 域问题的同一根源）
 */
&csi_dphy {
	status = "okay";
};

&vicap {
	status = "okay";

	ports {
		#address-cells = <1>;
		#size-cells = <0>;

		port@1 {
			#address-cells = <1>;
			#size-cells = <0>;

			vicap_mipi_input: endpoint@0 {
				reg = <0>;
				remote-endpoint = <&csi_out>;
			};
		};
	};
};

&vicap_mmu {
	status = "okay";
};

/* 根下直接挂（与 vicap/vepu 同级，厂商 dtb 同样把 mipi-csi2 放在根下） */
/ {
	csi2: csi@fdfb0000 {
		compatible = "rockchip,rk3568-mipi-csi";
		reg = <0x0 0xfdfb0000 0x0 0x10000>;
		clocks = <&cru PCLK_CSI2HOST1>;
		resets = <&cru SRST_P_CSI2HOST1>;
		phys = <&csi_dphy>;
		power-domains = <&power RK3568_PD_VI>;
		status = "okay";

		ports {
			#address-cells = <1>;
			#size-cells = <0>;

			port@0 {
				reg = <0>;

				csi_in: endpoint {
					/* MEDIA_BUS_TYPE_CSI2_DPHY = 4（video-interfaces.h） */
					bus-type = <4>;
					data-lanes = <1 2 3 4>;
					remote-endpoint = <&hi846_out>;
				};
			};

			port@1 {
				reg = <1>;

				csi_out: endpoint {
					remote-endpoint = <&vicap_mipi_input>;
				};
			};
		};
	};
};

/*
 * 排查记录（2026-11-03）：曾临时打开 i2c3/i2c4/i2c5 全总线扫描，
 * i2c3 上一度出现 0x20/0x22 的 "ACK"，但随后连不存在的 0x21 也超时，
 * 判定为总线卡死时的误判（i2c3 无实际设备）。故只保留 i2c2。
 */

/ {
	vcc_camera: vcc-camera-regulator {
		compatible = "regulator-fixed";
		regulator-name = "vcc_camera";
		gpio = <&gpio0 RK_PC5 GPIO_ACTIVE_HIGH>;
		enable-active-high;
		regulator-always-on;
		regulator-boot-on;
	};
};

/ {
	spdif_dit: spdif-dit {
		compatible = "linux,spdif-dit";
		#sound-dai-cells = <0>;
	};

	spdif_dir: spdif-dir {
		compatible = "linux,spdif-dir";
		#sound-dai-cells = <0>;
	};

	i2s1_sound: i2s1-cs4333-sound {
		compatible = "simple-audio-card";
		simple-audio-card,name = "rockchip,cs4333";
		simple-audio-card,format = "i2s";
		simple-audio-card,mclk-fs = <256>;
		/*
		 * SoC 做主：MCLK/BCLK/LRCK 都由 RK3566 送出。
		 * 依据是厂商 dtb —— cs4333-codec 节点自带 clocks="mclk" 与
		 * assigned-clock-rates=12288000，且它的 pinctrl 引用了
		 * i2s1m0-mclk(PA2)，说明这颗 codec 是被供主时钟的从机。
		 */
		simple-audio-card,bitclock-master = <&i2s1_master>;
		simple-audio-card,frame-master = <&i2s1_master>;

		i2s1_master: simple-audio-card,cpu {
			sound-dai = <&i2s1_8ch>;
		};

		i2s1_codec: simple-audio-card,codec {
			sound-dai = <&spdif_dit>;
			/*
			 * 关键 3：MCLK 门控必须有人 enable。
			 *
			 * I2S1_MCLKOUT_TX（PA2 引脚时钟源）在 clk-rk3568.c 里是一个
			 * "deviceless gate"：没有任何驱动通过 clocks 属性引用它，
			 * 所以 clk 框架永远不会 enable，引脚上就没有 12.288 MHz。
			 * 板上这颗 8 脚 I2S DAC 靠 MCLK 做内部过采样，没有 MCLK 就
			 * 完全静默（PCM 正常、TX FIFO 在动、功放偏置正常，就是没声）。
			 *
			 * 实测对照：手写寄存器关掉该门控 → 喇叭完全无声；
			 *           打开 → 立刻出声。是唯一变量。
			 *
			 * 这里借用 simple-audio-card 的行为：
			 * simple_util_parse_clk() 会解析子节点的 clocks，
			 * simple_util_startup() 再调 clk_prepare_enable()，
			 * 于是每次播放时门控自动打开、停止时自动关闭，无需改内核。
			 */
			clocks = <&cru I2S1_MCLKOUT_TX>;
		};
	};

	pdm_mic: pdm-mic-array {
		compatible = "simple-audio-card";
		simple-audio-card,name = "rockchip,pdm-mic-array";
		simple-audio-card,format = "i2s";
		simple-audio-card,mclk-fs = <256>;
		simple-audio-card,bitclock-master = <&pdm_master>;
		simple-audio-card,frame-master = <&pdm_master>;

		pdm_master: simple-audio-card,cpu {
			sound-dai = <&pdm>;
		};

		simple-audio-card,codec {
			sound-dai = <&spdif_dir>;
		};
	};
};

/*
 * ---------------------------------------------------------------------------
 * 显示与触摸实现说明（2026-11 v3 固件）
 *
 * 显示（MIPI-DSI 800x1280 @ 70MHz，4 lane）：
 *   - 主线 panel-simple.c 的 DSI 变体不支持硬复位也不发 11h/29h 初始化命令，
 *     内核补丁 userpatches/patch/kernel/archive/rockchip64-6.18/
 *     9999-drm-panel-simple-add-evb2-lp4x-generic-dsi-panel.patch 补上了：
 *       1) panel_simple 增加 reset_gpio（"reset-gpios"）与 dsi 句柄
 *       2) resume 时硬复位 + DCS EXIT_SLEEP_MODE(11h) 延时 120ms + DISPLAY_ON(29h)
 *       3) 注册 compatible "rockchip,evb2-lp4x-panel"（时序取自厂商 DTB）
 *
 * 触摸（Silead GSLX680，10 点，I2C1 @0x40）：
 *   - 主线 drivers/input/touchscreen/silead.c（CONFIG_TOUCHSCREEN_SILEAD=m）
 *   - 需要固件文件 /lib/firmware/silead/gsl1680-evb2.fw（从厂商内核提取，
 *     或先用 gsl-firmware 仓库相近固件试验），首次构建可暂缺，仅触摸不可用
 *   - 硬复位走 "power-gpios"（GPIO0_B6 高有效），驱动 probe 前 OFF->ON 复位
 *
 * 厂商 DTB 面板参数备份：
 *   hactive 800, hfp 52, hsync 8, hbp 48; vactive 1280, vfp 16, vsync 6, vbp 15
 *   clock 70000000, dsi lanes 4, format RGB888, flags 0xa03
 *   reset-gpios GPIO0_D5 低有效, enable-gpios GPIO0_C7 高有效
 *   背光 = backlight1 = PWM5 @ 25kHz, 255 级, 默认 200
 * ---------------------------------------------------------------------------
 */
